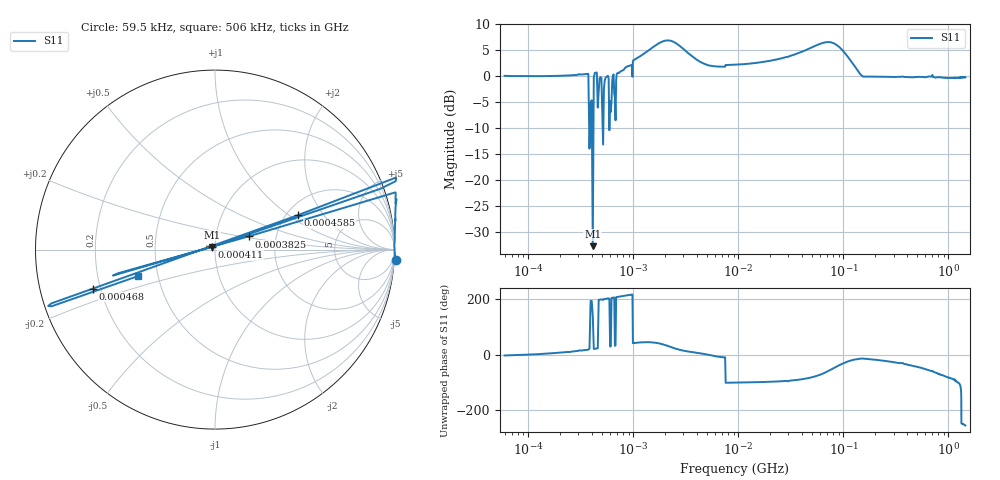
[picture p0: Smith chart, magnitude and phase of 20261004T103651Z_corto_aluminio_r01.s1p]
! piloto_corto / corto_aluminio / r01
# HZ S RI R 50
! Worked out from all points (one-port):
!   500 points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, 59.5 kHz to 1.45 GHz, reference 50 ohm
!   lowest |S11| = -32.7 dB at 411 kHz (marker M1), VSWR 1.05, Z = 48.2 + j1.43 ohm
!   |S11| at or under -10 dB: 379.9 kHz to 386.7 kHz (6.841 kHz wide, 1.78 % of centre); 403.3 kHz to 417.6 kHz (14.32 kHz wide, 3.49 % of centre); 510.7 kHz to 518.3 kHz (7.568 kHz wide, 1.47 % of centre) (the widest 3 of 4)
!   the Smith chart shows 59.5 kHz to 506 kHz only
!   S11 on the Smith chart (normalised r, x): 59.5 kHz: -5, -33; 382.5 kHz: 1.44, +0.22; 411 kHz: 0.96, +0.03; 458.5 kHz: 2.29, +1.17; 468 kHz: 0.17, -0.15; 506 kHz: 0.39, -0.14
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59500  1.007 -0.0593
211500  1.003 0.135
354000  1.007 0.2989
382500  0.1868 0.0735
411000  -0.0176 0.0149
439500  1.009 0.3912
458500  0.4611 0.1915
468000  -0.6794 -0.217
506000  -0.4284 -0.1475
563000  -0.9224 -0.3772
610500  0.3936 0.2234
743500  -0.9524 -0.5437
962000  -1.03 -0.7624
1000000  1.07 0.9367
1090000  1.097 1.019
1810000  1.638 1.337
2710000  1.893 0.6145
7300000  1.218 -0.2153
7750000  -0.2653 -1.256
9370000  -0.2566 -1.266
3.34e7  -0.088 -1.601
6.67e7  0.8762 -1.927
1.18e8  1.304 -0.5124
4.15e8  0.7692 -0.6048
1.2745e9  -0.2603 -0.9318
1.315e9  -0.5665 -0.7969
1.3375e9  -0.3414 0.9132
1.45e9  -0.2306 0.9475
